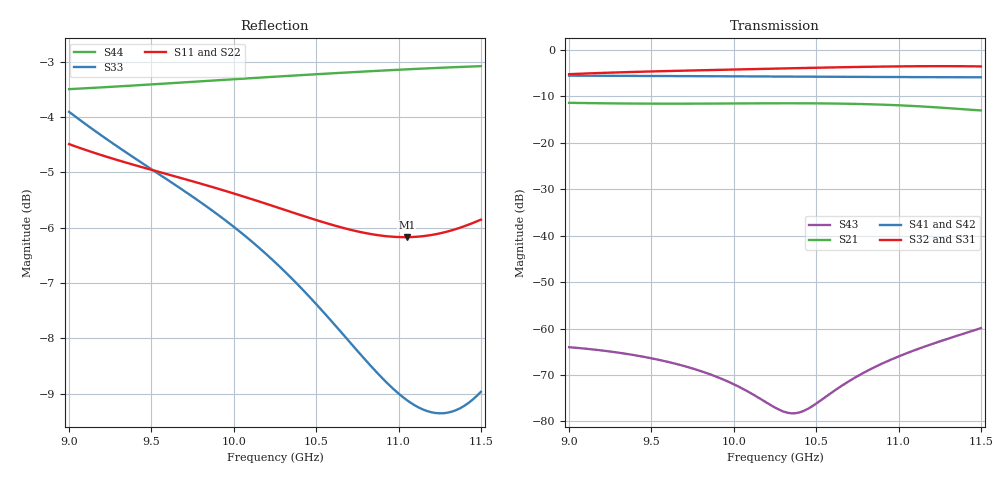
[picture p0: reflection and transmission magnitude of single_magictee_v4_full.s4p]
! Generated from PyAEDT SolutionData; AEDT ExportNetworkData workaround
# GHz S MA R 50
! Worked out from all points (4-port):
!   101 points, 9 GHz to 11.5 GHz, reference 50 ohm
!   strongest paths, dB at 9 GHz, 9.625 GHz, 10.25 GHz, 10.88 GHz, 11.5 GHz:
!     S32: -5.3, -4.6, -4.1, -3.6, -3.6
!     S31: -5.3, -4.6, -4.1, -3.7, -3.6
!     S41: -5.6, -5.7, -5.8, -5.9, -5.9
!     S42: -5.6, -5.7, -5.8, -5.9, -6.0
!     S21: -11.4, -11.6, -11.5, -11.8, -13.1
!     S43: -64.0, -67.4, -77.0, -68.0, -59.9
!   lowest |S11| = -6.2 dB at 11.05 GHz (marker M1), VSWR 2.93, Z = 17.3 + j6.17 ohm
!   |S11| at or under -10 dB: nowhere
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9  0.5962 26.1  0.2683 -67.6  0.5442 -3.5  0.5257 39.0
   0.2683 -67.6  0.595 26.0  0.5453 -3.5  0.526 -141.1
   0.5442 -3.5  0.5453 -3.5  0.6376 171.8  0.0006296 -157.4
   0.5257 39.0  0.526 -141.1  0.0006296 -157.4  0.6685 -151.8
9.4  0.5707 -21.2  0.2635 -122.7  0.576 -74.9  0.5225 -4.5
     0.2635 -122.7  0.5696 -21.4  0.5771 -74.9  0.5226 175.4
     0.576 -74.9  0.5771 -74.9  0.5789 78.1  0.0005157 125.2
     0.5225 -4.5  0.5226 175.4  0.0005157 125.2  0.6737 169.7
9.725  0.5532 -58.3  0.2629 -165.5  0.5957 -130.7  0.5196 -38.7
       0.2629 -165.5  0.5522 -58.5  0.5968 -130.7  0.5194 141.2
       0.5957 -130.7  0.5968 -130.7  0.5376 4.8  0.0003828 67.1
       0.5196 -38.7  0.5194 141.2  0.0003828 67.1  0.6784 139.2
10.05  0.5352 -94.3  0.2643 152.6  0.6139 174.8  0.5166 -72.1
       0.2643 152.6  0.5345 -94.4  0.6148 174.7  0.5162 107.8
       0.6139 174.8  0.6148 174.7  0.4951 -66.7  0.000227 19.7
       0.5166 -72.1  0.5162 107.8  0.000227 19.7  0.6831 109.2
10.525  0.5078 -144.4  0.2644 92.1  0.6402 96.2  0.5122 -119.9
        0.2644 92.1  0.5075 -144.5  0.641 96.2  0.5116 60.1
        0.6402 96.2  0.641 96.2  0.4235 -171.8  0.0001673 33.0
        0.5122 -119.9  0.5116 60.1  0.0001673 33.0  0.6899 66.0
11.05  0.4914 164.1  0.25 26.5  0.662 8.9  0.5078 -171.5
       0.25 26.5  0.4914 164.1  0.6627 8.9  0.5068 8.5
       0.662 8.9  0.6627 8.9  0.3501 62.6  0.0005428 -25.6
       0.5078 -171.5  0.5068 8.5  0.0005428 -25.6  0.6966 18.8
11.5  0.5096 120.1  0.2222 -23.4  0.6603 -68.3  0.505 144.7
      0.2222 -23.4  0.5101 120.3  0.6612 -68.2  0.5033 -35.2
      0.6603 -68.3  0.6612 -68.2  0.3562 -55.0  0.00101 -94.0
      0.505 144.7  0.5033 -35.2  0.00101 -94.0  0.7012 -21.5
